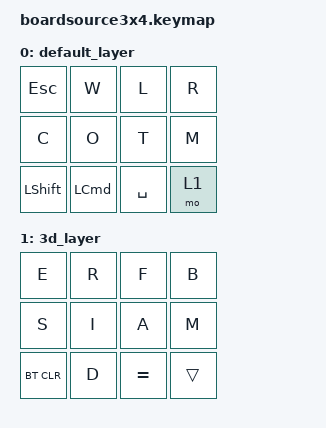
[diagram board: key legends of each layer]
#include <behaviors.dtsi>
#include <dt-bindings/zmk/keys.h>
#include <dt-bindings/zmk/bt.h>

/ {
    keymap {
        compatible = "zmk,keymap";

        default_layer { // Layer 0
            // -------------------------------------------------
            // |    ESC    |     W     |     L     |     R     |
            // |     C     |     O     |     T     |     M     |
            // |   SHIFT   |    CMD    |   SPACE   |    &mo 1  |
            bindings = <
                &kp ESC      &kp W               &kp L            &kp R
                &kp C        &kp O               &kp T            &kp M
                &kp LSHIFT   &kp LEFT_COMMAND    &kp SPACE        &mo 1 
            >;
        };

        3d_layer { // Layer 1
            // -------------------------------------------------
            // |     E    |     R     |     F     |     B     |
            // |     S    |     I     |     A     |     M     |
            // |   BTCLR  |     D     |   EQUAL   |   &trans  |
            bindings = <
                &kp E        &kp R        &kp F        &kp B
                &kp S        &kp I        &kp A        &kp M
                &bt BT_CLR   &kp D        &kp EQUAL    &trans 
            >;
        };
    };
};


